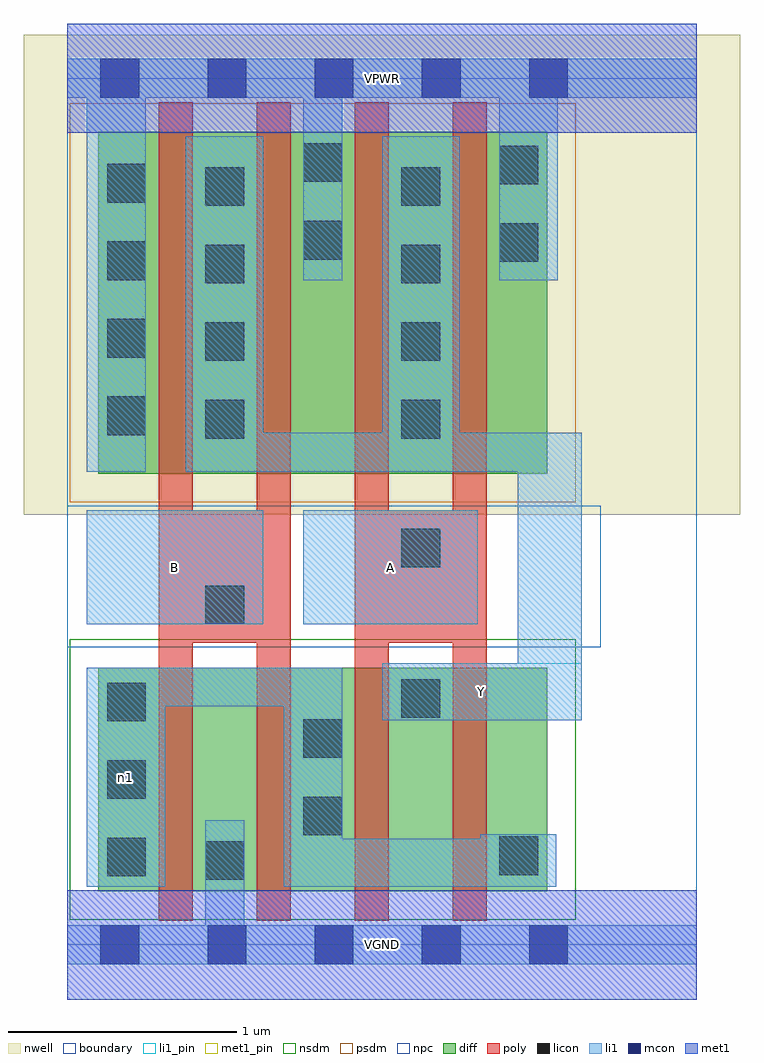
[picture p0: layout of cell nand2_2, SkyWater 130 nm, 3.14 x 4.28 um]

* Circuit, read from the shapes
.subckt nand2_2 A B VGND VPWR Y n1
XM1 VGND B n1 VSUBS sky130_fd_pr__nfet_01v8 w=0.98 l=0.15 m=2
XM2 Y A n1 VSUBS sky130_fd_pr__nfet_01v8 w=0.98 l=0.15 m=2
XM3 Y B VPWR n2 sky130_fd_pr__pfet_01v8 w=1.5 l=0.15 m=2
XM4 Y A VPWR n2 sky130_fd_pr__pfet_01v8 w=1.5 l=0.15 m=2
.ends

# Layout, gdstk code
import gdstk
lib = gdstk.Library(unit=1e-6, precision=1e-09)
def R(c, l, rs):  # rectangles x0, y0, x1, y1
    for r in rs: c.add(gdstk.rectangle(r[:2], r[2:], *l))
def A(c, l, x, y, w, h, nx, ny, dx, dy):  # array of equal rectangles
    R(c, l, [(x+i*dx, y+j*dy, x+i*dx+w, y+j*dy+h) for i in range(nx) for j in range(ny)])
nwell = (64, 20)
diff = (65, 20)
poly = (66, 20)
licon = (66, 44)
li1_pin = (67, 16)
li1 = (67, 20)
mcon = (67, 44)
met1_pin = (68, 16)
met1 = (68, 20)
nsdm = (93, 44)
psdm = (94, 20)
npc = (95, 20)
boundary = (235, 4)

nand2_2 = lib.new_cell('nand2_2')
R(nand2_2, nwell, [(-0.19,1.885,2.95,3.99), (0,1.885,2.76,3.99)])
R(nand2_2, diff, [(0.135,0.235,2.105,1.215), (0.135,2.065,2.105,3.565)])
A(nand2_2, poly, 0.4, 0.105, 0.15, 3.59, 4, 1, 0.43, 0)
R(nand2_2, poly, [(0.4,1.325,0.98,1.905), (1.26,1.325,1.84,1.905)])
A(nand2_2, licon, 0.175, 0.3, 0.17, 0.17, 1, 3, 0, 0.34)
A(nand2_2, licon, 0.605, 2.22, 0.17, 0.17, 1, 4, 0, 0.34)
A(nand2_2, licon, 1.465, 2.22, 0.17, 0.17, 1, 4, 0, 0.34)
A(nand2_2, licon, 0.175, 2.235, 0.17, 0.17, 1, 4, 0, 0.34)
R(nand2_2, licon, [(0.605,0.285,0.775,0.455), (1.895,0.305,2.065,0.475), (1.035,0.48,1.205,0.65), (1.035,0.82,1.205,0.99), (1.465,0.995,1.635,1.165), (0.605,1.405,0.775,1.575), (1.465,1.655,1.635,1.825), (1.895,2.995,2.065,3.165), (1.035,3.005,1.205,3.175), (1.895,3.335,2.065,3.505), (1.035,3.345,1.205,3.515)])
R(nand2_2, li1_pin, [(1.38,0.985,2.255,1.235), (0.085,1.405,0.86,1.905), (1.035,1.405,1.8,1.905)])
R(nand2_2, li1, [(0,-0.085,2.76,0.085), (0.605,-0.085,0.775,0.545), (0.085,0.255,0.43,1.215), (0.95,0.255,2.145,0.465), (0.95,0.255,1.205,1.215), (1.81,0.255,2.145,0.485), (1.38,0.985,2.255,1.235), (1.975,0.985,2.255,2.245), (0.085,1.045,1.205,1.215), (0.085,1.405,0.86,1.905), (1.035,1.405,1.8,1.905), (0.085,2.075,0.345,3.885), (0.52,2.075,0.86,3.545), (0.52,2.075,2.255,2.245), (1.38,2.075,1.72,3.545), (1.035,2.915,1.205,3.885), (1.895,2.915,2.15,3.885), (0,3.715,2.76,3.885)])
A(nand2_2, mcon, 0.145, -0.085, 0.17, 0.17, 5, 2, 0.47, 3.8)
R(nand2_2, met1_pin, [(0,-0.24,2.76,0.24), (0,3.56,2.76,4.04)])
R(nand2_2, met1, [(0,-0.24,2.76,0.24), (0,3.56,2.76,4.04)])
R(nand2_2, nsdm, [(0.01,0.11,2.23,1.34)])
R(nand2_2, psdm, [(0.01,1.94,2.23,3.69)])
R(nand2_2, npc, [(0,1.305,2.34,1.925)])
R(nand2_2, boundary, [(0,0,2.76,3.8)])
nand2_2.add(gdstk.Label('A', (1.417,1.655), layer=67, texttype=5))
nand2_2.add(gdstk.Label('B', (0.472,1.655), layer=67, texttype=5))
nand2_2.add(gdstk.Label('Y', (1.817,1.11), layer=67, texttype=5))
nand2_2.add(gdstk.Label('n1', (0.257,0.735), layer=67, texttype=5))
nand2_2.add(gdstk.Label('VPWR', (1.38,3.8), layer=68, texttype=5))
nand2_2.add(gdstk.Label('VGND', (1.38,0), layer=68, texttype=5))
nand2_2.add(gdstk.Label('A', (1.417,1.655), layer=67, texttype=16))
nand2_2.add(gdstk.Label('B', (0.472,1.655), layer=67, texttype=16))
nand2_2.add(gdstk.Label('Y', (1.817,1.11), layer=67, texttype=16))
nand2_2.add(gdstk.Label('VPWR', (1.38,3.8), layer=68, texttype=16))
nand2_2.add(gdstk.Label('VGND', (1.38,0), layer=68, texttype=16))

lib.write_gds('nand2_2.gds')
